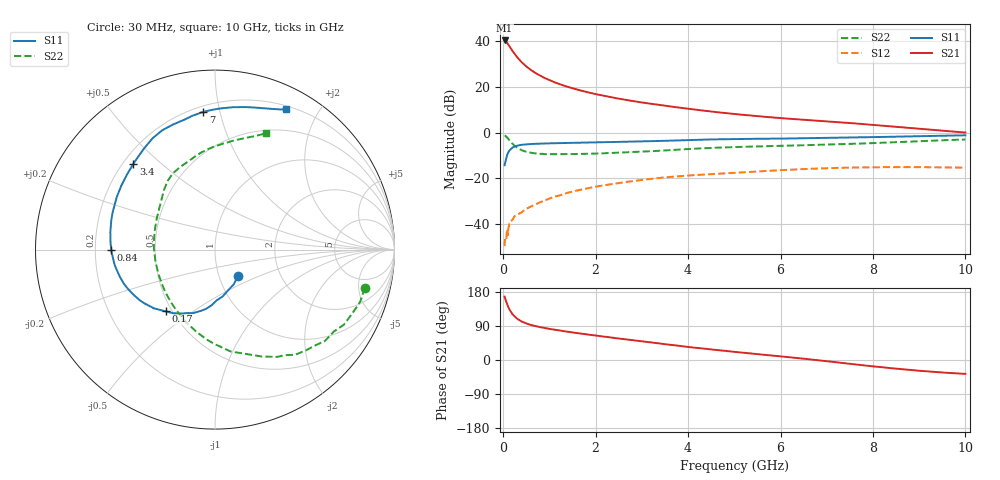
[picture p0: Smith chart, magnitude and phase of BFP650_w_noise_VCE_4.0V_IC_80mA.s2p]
! Infineon Technologies  Discrete & RF Semiconductors
! BFP650
! VCE =  4.0 V,  IC =  80 mA
! Common Emitter S-Parameters:  Jan 2016
# GHz  S  MA  R  50
!  f  S11  S21  S12  S22
! GHz  MAG  ANG  MAG  ANG  MAG  ANG  MAG  ANG
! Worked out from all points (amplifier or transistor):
!   229 points, 30 MHz to 10 GHz, reference 50 ohm
!   highest |S21| = 40.3 dB at 30 MHz (marker M1)
!   |S21| within 3 dB of that: start of sweep to 148.6 MHz
!   unconditionally stable (mu >= 1): 1.431 GHz to end of sweep
!   at 280 MHz: K = 0.61, MSG = 34.8 dB, |S12| = -36.1 dB
!   at 1.78 GHz: K = 1.02, MAG = 20.4 dB, |S12| = -24.5 dB
!   at 10 GHz: K = 1.03, MAG = 6.7 dB, |S12| = -15.3 dB
!   lowest NFmin = 1.25 dB at 450 MHz
!   S11 on the Smith chart (normalised r, x): 30 MHz: 1.23, -0.37; 170 MHz: 0.46, -0.39; 840 MHz: 0.27, -0.00; 3.4 GHz: 0.24, +0.41; 7 GHz: 0.24, +0.89; 10 GHz: 0.24, +1.60
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0.03  0.1941 -48.4  103.6 167.3  0.0033 75.1  0.861 -14.3
0.04  0.2206 -61.8  102.7 163.1  0.005 57.0  0.8598 -19.7
0.05  0.2352 -71.0  99.8 159.1  0.0051 85.6  0.8452 -24.3
0.06  0.2645 -80.7  98.63 155.8  0.0049 69.8  0.8312 -30.2
0.08  0.3133 -94.0  93.1 148.7  0.0076 71.9  0.7963 -39.8
0.1  0.3514 -103.3  87.43 142.5  0.0057 66.5  0.758 -47.5
0.13  0.401 -117.4  78.33 134.5  0.0098 62.4  0.6899 -60.1
0.17  0.4406 -128.7  68.09 126.9  0.0119 55.5  0.6152 -71.8
0.2  0.4713 -135.9  61.25 120.9  0.0124 53.9  0.5742 -81.3
0.26  0.5049 -145.9  50.52 113.1  0.0153 57.4  0.5048 -94.9
0.3  0.5189 -151.0  44.75 109.0  0.0158 55.8  0.4697 -102.7
0.4  0.5431 -160.0  34.58 101.5  0.0181 59.1  0.4138 -118.1
0.6  0.5656 -171.3  23.39 92.4  0.0244 60.3  0.3637 -139.8
0.84  0.5778 -179.9  16.76 85.7  0.0314 59.8  0.3428 -156.5
1.2  0.5907 171.0  11.67 78.1  0.0419 60.1  0.3371 -173.0
1.7  0.6054 160.9  8.22 69.4  0.0574 56.6  0.3439 171.6
3.4  0.6591 133.7  4.002 43.4  0.1028 38.2  0.4026 138.4
5.1  0.728 112.9  2.502 20.4  0.1348 20.8  0.4876 117.7
6.8  0.7634 96.9  1.827 -0.4  0.1643 3.4  0.5415 99.2
7  0.7703 94.9  1.771 -3.2  0.1673 1.2  0.5486 97.5
8.4  0.8131 77.5  1.37 -21.7  0.1763 -14.4  0.6125 81.0
10  0.8755 63.1  1.006 -36.6  0.1721 -27.3  0.7088 66.3
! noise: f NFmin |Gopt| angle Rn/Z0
0.45  1.25  0.51  -171  0.06
0.9  1.27  0.52  -165  0.06
1.9  1.4  0.55  -151  0.08
2.4  1.49  0.54  -141  0.11
3.5  1.69  0.55  -118  0.19
